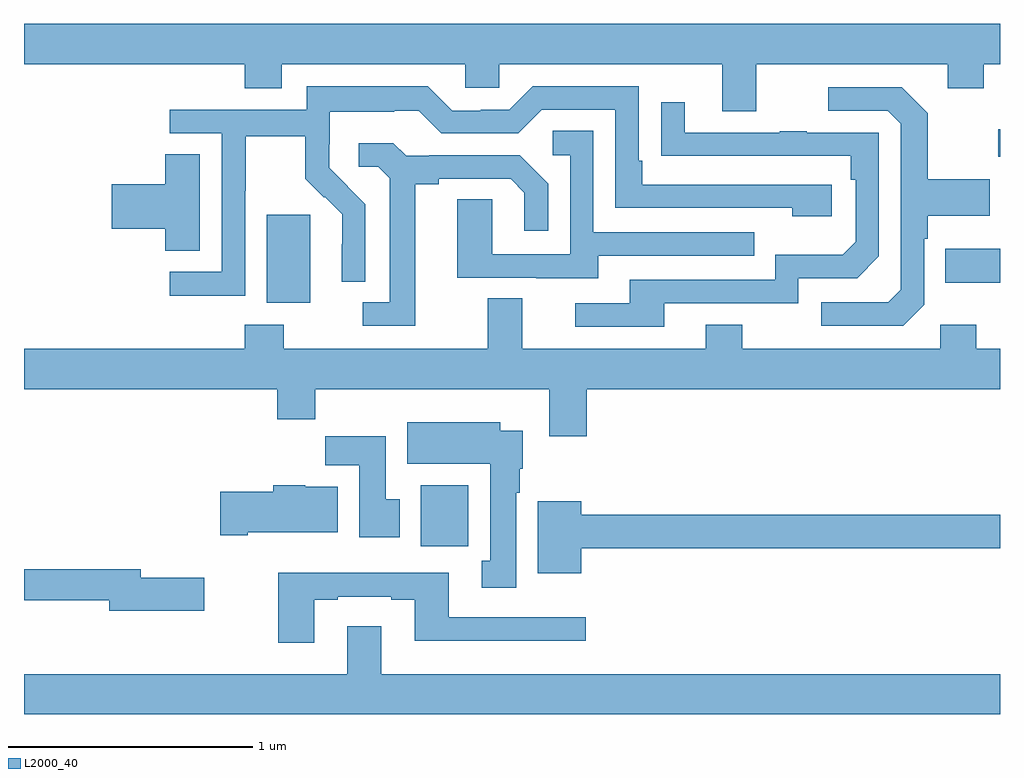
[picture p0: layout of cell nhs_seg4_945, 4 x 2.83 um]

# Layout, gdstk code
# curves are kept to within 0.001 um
import gdstk
lib = gdstk.Library(unit=1e-6, precision=1e-09)
def R(c, l, rs):  # rectangles x0, y0, x1, y1
    for r in rs: c.add(gdstk.rectangle(r[:2], r[2:], *l))
def P(c, l, *ps):  # polygons
    for p in ps: c.add(gdstk.Polygon(p, *l))
L2000_40 = (2000, 40)

nhs_seg4_945 = lib.new_cell('nhs_seg4_945')
R(nhs_seg4_945, L2000_40, [(160.625,808.164,160.821,808.414), (159.995,809.162,160.174,809.523), (162.775,809.243,163,809.383), (162.993,809.759,163,809.872)])
P(nhs_seg4_945, L2000_40, [(162.001,810.14),(162.785,810.14),(162.785,810.041),(162.933,810.041),(162.933,810.14),(163,810.14),(163,810.304),(159,810.304),(159,810.14),(159.905,810.14),(159.905,810.041),(160.057,810.041),(160.057,810.14),(160.809,810.14),(160.809,810.042),(160.947,810.042),(160.947,810.14),(161.861,810.14),(161.861,809.946),(162.001,809.946)],
  [(159.906,809.62),(159.909,809.62),(159.909,809.844),(160.153,809.844),(160.153,809.669),(160.23,809.592),(160.233,809.595),(160.304,809.525),(160.304,809.402),(160.302,809.402),(160.302,809.248),(160.398,809.248),(160.398,809.566),(160.252,809.714),(160.252,809.811),(160.254,809.811),(160.254,809.945),(160.517,809.945),(160.517,809.949),(160.617,809.949),(160.71,809.856),(161.025,809.856),(161.121,809.952),(161.424,809.952),(161.424,809.55),(162.149,809.55),(162.149,809.516),(162.31,809.516),(162.31,809.646),(161.533,809.646),(161.533,809.743),(161.52,809.743),(161.52,810.048),(161.085,810.048),(160.989,809.952),(160.871,809.952),(160.871,809.949),(160.755,809.949),(160.655,810.049),(160.158,810.049),(160.158,809.952),(159.597,809.952),(159.597,809.856),(159.81,809.856),(159.81,809.289),(159.597,809.289),(159.597,809.191),(159.906,809.191)],
  [(162.69,809.154),(162.69,809.423),(162.703,809.423),(162.703,809.519),(162.959,809.519),(162.959,809.667),(162.703,809.667),(162.703,809.939),(162.597,810.045),(162.297,810.045),(162.297,809.949),(162.54,809.949),(162.594,809.895),(162.594,809.214),(162.543,809.163),(162.267,809.163),(162.267,809.067),(162.603,809.067)],
  [(161.623,809.16),(162.174,809.16),(162.174,809.262),(162.414,809.262),(162.504,809.352),(162.504,809.859),(162.209,809.859),(162.209,809.864),(162.097,809.864),(162.097,809.859),(161.707,809.859),(161.707,809.983),(161.611,809.983),(161.611,809.764),(162.388,809.763),(162.388,809.666),(162.408,809.666),(162.408,809.412),(162.355,809.359),(162.078,809.359),(162.078,809.256),(161.483,809.256),(161.483,809.16),(161.259,809.16),(161.259,809.064),(161.623,809.064)],
  [(161.353,809.355),(161.993,809.355),(161.993,809.451),(161.334,809.451),(161.334,809.867),(161.166,809.867),(161.166,809.766),(161.238,809.766),(161.238,809.361),(160.92,809.361),(160.92,809.585),(160.775,809.585),(160.775,809.265),(161.099,809.265),(161.099,809.261),(161.353,809.261)],
  [(160.603,809.648),(160.699,809.648),(160.699,809.67),(160.994,809.67),(161.051,809.613),(161.051,809.457),(161.148,809.457),(161.148,809.65),(161.032,809.766),(160.66,809.766),(160.66,809.763),(160.566,809.763),(160.514,809.815),(160.371,809.815),(160.371,809.718),(160.452,809.718),(160.499,809.671),(160.499,809.163),(160.389,809.163),(160.389,809.067),(160.603,809.067)],
  [(159.721,809.771),(159.578,809.771),(159.578,809.648),(159.36,809.648),(159.36,809.465),(159.578,809.465),(159.578,809.374),(159.721,809.374)],
  [(161.306,808.808),(163,808.808),(163,808.972),(162.903,808.972),(162.903,809.071),(162.756,809.071),(162.756,808.972),(161.943,808.972),(161.943,809.071),(161.795,809.071),(161.795,808.972),(161.041,808.972),(161.041,809.18),(160.901,809.18),(160.901,808.972),(160.065,808.972),(160.065,809.071),(159.905,809.071),(159.905,808.972),(159,808.972),(159,808.808),(160.037,808.808),(160.037,808.684),(160.193,808.684),(160.193,808.808),(161.153,808.808),(161.153,808.614),(161.306,808.614)],
  [(161.017,808.382),(161.032,808.382),(161.032,808.482),(161.044,808.482),(161.044,808.636),(160.951,808.636),(160.951,808.672),(160.571,808.672),(160.571,808.502),(160.91,808.502),(160.91,808.105),(160.877,808.105),(160.877,807.993),(161.017,807.993)],
  [(160.54,808.356),(160.483,808.356),(160.483,808.614),(160.234,808.614),(160.234,808.496),(160.373,808.496),(160.373,808.2),(160.54,808.2)],
  [(159.916,808.22),(160.285,808.22),(160.285,808.408),(160.152,808.408),(160.152,808.414),(160.022,808.414),(160.022,808.386),(159.804,808.386),(159.804,808.208),(159.916,808.208)],
  [(161.284,808.156),(163,808.156),(163,808.292),(161.284,808.292),(161.284,808.348),(161.105,808.348),(161.105,808.052),(161.284,808.052)],
  [(159.739,808.034),(159.478,808.034),(159.478,808.07),(159,808.07),(159,807.942),(159.35,807.942),(159.35,807.899),(159.739,807.899)],
  [(160.189,807.945),(160.285,807.945),(160.285,807.957),(160.505,807.957),(160.505,807.945),(160.601,807.945),(160.601,807.776),(161.302,807.776),(161.302,807.873),(160.741,807.873),(160.741,808.054),(160.042,808.054),(160.042,807.768),(160.189,807.768)],
  [(163,807.64),(160.465,807.64),(160.465,807.835),(160.325,807.835),(160.325,807.64),(159,807.64),(159,807.476),(163,807.476)])

lib.write_gds('nhs_seg4_945.gds')
